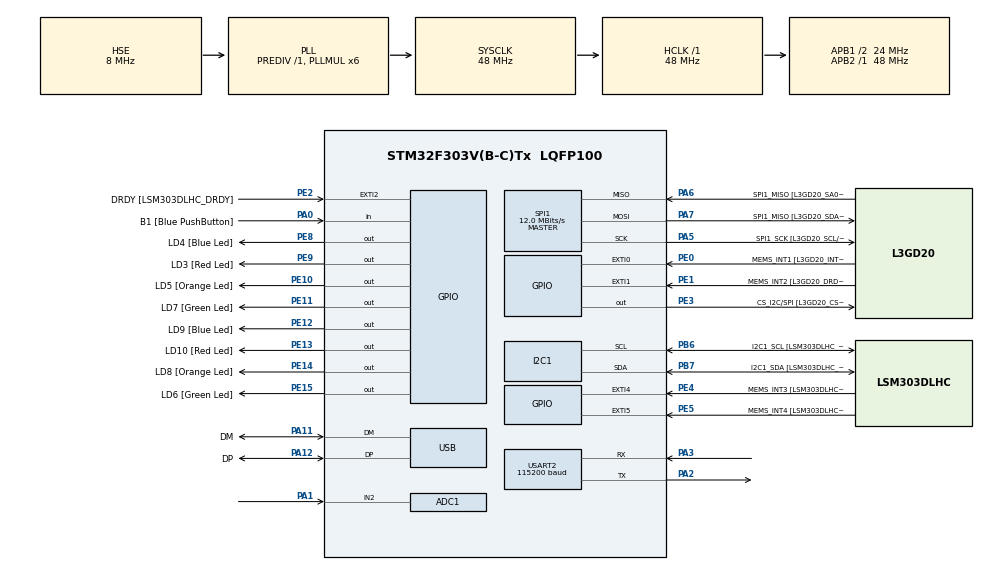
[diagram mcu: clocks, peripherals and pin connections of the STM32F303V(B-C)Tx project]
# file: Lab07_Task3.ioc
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ADC1.Channel-0\#ChannelRegularConversion=ADC_CHANNEL_2
ADC1.NbrOfConversionFlag=1
ADC1.Offset-0\#ChannelRegularConversion=0
ADC1.OffsetNumber-0\#ChannelRegularConversion=ADC_OFFSET_NONE
ADC1.Rank-0\#ChannelRegularConversion=1
ADC1.SamplingTime-0\#ChannelRegularConversion=ADC_SAMPLETIME_61CYCLES_5
ADC1.SamplingTimeOPAMP-0\#ChannelRegularConversion=ADC_SAMPLETIME_19CYCLES_5
ADC1.master=1
I2C1.Timing=0x2000090E
I2C1.Timing-I2C=0x2000090E
Mcu.Family=STM32F3
Mcu.Name=STM32F303V(B-C)Tx
Mcu.Package=LQFP100
NVIC.PriorityGroup=NVIC_PRIORITYGROUP_0
PA0.GPIO_Label=B1 [Blue PushButton]
PA0.Signal=GPIO_Input
PA1.Mode=IN2-Single-Ended
PA1.Signal=ADC1_IN2
PA11.GPIO_Label=DM
PA11.Mode=Device
PA11.Signal=USB_DM
PA12.GPIO_Label=DP
PA12.Mode=Device
PA12.Signal=USB_DP
PA13.GPIO_Label=SWDIO
PA13.Mode=Serial_Wire
PA13.Signal=SYS_JTMS-SWDIO
PA14.GPIO_Label=SWCLK
PA14.Mode=Serial_Wire
PA14.Signal=SYS_JTCK-SWCLK
PA2.Mode=Asynchronous
PA2.Signal=USART2_TX
PA3.Mode=Asynchronous
PA3.Signal=USART2_RX
PA5.GPIO_Label=SPI1_SCK [L3GD20_SCL/SPC]
PA5.Mode=Full_Duplex_Master
PA5.Signal=SPI1_SCK
PA6.GPIO_Label=SPI1_MISO [L3GD20_SA0/SDO]
PA6.Mode=Full_Duplex_Master
PA6.Signal=SPI1_MISO
PA7.GPIO_Label=SPI1_MISO [L3GD20_SDA/SDI/SDO]
PA7.Mode=Full_Duplex_Master
PA7.Signal=SPI1_MOSI
PB3.GPIO_Label=SWO
PB3.Signal=SYS_JTDO-TRACESWO
PB6.GPIO_Label=I2C1_SCL [LSM303DLHC_SCL]
PB6.GPIO_Pu=GPIO_PULLUP
PB6.Mode=I2C
PB6.Signal=I2C1_SCL
PB7.GPIO_Label=I2C1_SDA [LSM303DLHC_SDA]
PB7.GPIO_Pu=GPIO_PULLUP
PB7.Mode=I2C
PB7.Signal=I2C1_SDA
PC14-OSC32_IN.GPIO_Label=OSC32_IN
PC14-OSC32_IN.Signal=RCC_OSC32_IN
PC15-OSC32_OUT.GPIO_Label=OSC32_OUT
PC15-OSC32_OUT.Signal=RCC_OSC32_OUT
PE0.GPIO_Label=MEMS_INT1 [L3GD20_INT1]
PE0.GPIO_ModeDefaultEXTI=GPIO_MODE_EVT_RISING
PE0.Signal=GPXTI0
PE1.GPIO_Label=MEMS_INT2 [L3GD20_DRDY/INT2]
PE1.GPIO_ModeDefaultEXTI=GPIO_MODE_EVT_RISING
PE1.Signal=GPXTI1
PE10.GPIO_Label=LD5 [Orange Led]
PE10.Signal=GPIO_Output
PE11.GPIO_Label=LD7 [Green Led]
PE11.Signal=GPIO_Output
PE12.GPIO_Label=LD9 [Blue Led]
PE12.Signal=GPIO_Output
PE13.GPIO_Label=LD10 [Red Led]
PE13.Signal=GPIO_Output
PE14.GPIO_Label=LD8 [Orange Led]
PE14.Signal=GPIO_Output
PE15.GPIO_Label=LD6 [Green Led]
PE15.Signal=GPIO_Output
PE2.GPIO_Label=DRDY [LSM303DLHC_DRDY]
PE2.GPIO_ModeDefaultEXTI=GPIO_MODE_EVT_RISING
PE2.Signal=GPXTI2
PE3.GPIO_Label=CS_I2C/SPI [L3GD20_CS_I2C/SPI]
PE3.Signal=GPIO_Output
PE4.GPIO_Label=MEMS_INT3 [LSM303DLHC_INT1]
PE4.GPIO_ModeDefaultEXTI=GPIO_MODE_EVT_RISING
PE4.Signal=GPXTI4
PE5.GPIO_Label=MEMS_INT4 [LSM303DLHC_INT2]
PE5.GPIO_ModeDefaultEXTI=GPIO_MODE_EVT_RISING
PE5.Signal=GPXTI5
PE8.GPIO_Label=LD4 [Blue Led]
PE8.Signal=GPIO_Output
PE9.GPIO_Label=LD3 [Red Led]
PE9.Signal=GPIO_Output
PF0-OSC_IN.GPIO_Label=OSC_IN
PF0-OSC_IN.Mode=HSE-External-Clock-Source
PF0-OSC_IN.Signal=RCC_OSC_IN
PF1-OSC_OUT.GPIO_Label=OSC_OUT
PF1-OSC_OUT.Signal=RCC_OSC_OUT
ProjectManager.HeapSize=0x200
ProjectManager.StackSize=0x400
ProjectManager.TargetToolchain=CMake
RCC.AHBFreq_Value=48000000
RCC.APB1CLKDivider=RCC_HCLK_DIV2
RCC.APB1Freq_Value=24000000
RCC.APB1TimFreq_Value=48000000
RCC.APB2Freq_Value=48000000
RCC.APB2TimFreq_Value=48000000
RCC.CortexFreq_Value=48000000
RCC.HCLKFreq_Value=48000000
RCC.HSE_VALUE=8000000
RCC.HSI_VALUE=8000000
RCC.LSE_VALUE=32768
RCC.PLLMUL=RCC_PLL_MUL6
RCC.SYSCLKFreq_VALUE=48000000
RCC.SYSCLKSourceVirtual=RCC_SYSCLKSOURCE_PLLCLK
RCC.USBFreq_Value=48000000
SPI1.BaudRatePrescaler=SPI_BAUDRATEPRESCALER_4
SPI1.BaudRatePrescaler-Full_Duplex_Master=SPI_BAUDRATEPRESCALER_2
SPI1.CalculateBaudRate=12.0 MBits/s
SPI1.CalculateBaudRate-Full_Duplex_Master=24.0 MBits/s
SPI1.Direction=SPI_DIRECTION_2LINES
SPI1.Mode=SPI_MODE_MASTER
SPI1.Mode-Full_Duplex_Master=SPI_MODE_MASTER
SPI1.VirtualType=VM_MASTER
USART2.BaudRate=115200
USART2.VirtualMode-Asynchronous=VM_ASYNC
board=STM32F3DISCOVERY

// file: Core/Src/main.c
/* USER CODE BEGIN Header */
/**
  ******************************************************************************
  * @file           : main.c
  * @brief          : Main program body
  ******************************************************************************
  * @attention
  *
  * Copyright (c) 2026 STMicroelectronics.
  * All rights reserved.
  *
  * This software is licensed under terms that can be found in the LICENSE file
  * in the root directory of this software component.
  * If no LICENSE file comes with this software, it is provided AS-IS.
  *
  ******************************************************************************
  */
/* USER CODE END Header */
#include "main.h"

/* USER CODE BEGIN Includes */

#include <stdio.h>
#include <string.h>
#include "stdarg.h"
#include <math.h>
/* USER CODE END Includes */

ADC_HandleTypeDef hadc1;

I2C_HandleTypeDef hi2c1;

SPI_HandleTypeDef hspi1;

UART_HandleTypeDef huart2;

/* USER CODE BEGIN PV */

uint32_t adc_value;
float voltage;
char msg[100];

/* USER CODE END PV */

void SystemClock_Config(void);
static void MX_GPIO_Init(void);
static void MX_ADC1_Init(void);
static void MX_I2C1_Init(void);
static void MX_SPI1_Init(void);
static void MX_USART2_UART_Init(void);

/* USER CODE BEGIN 0 */
void myPrintf(const char *fmt, ...){
    char buffer[100];
    va_list args;
    va_start(args, fmt);
    vsnprintf(buffer, sizeof(buffer), fmt, args);
    va_end(args);

    uint8_t length = strlen(buffer);
    HAL_UART_Transmit(&huart2, (uint8_t *)buffer, length, HAL_MAX_DELAY);

  }

int _write(int file, char *ptr, int len) {
    HAL_UART_Transmit(&huart2, (uint8_t*)ptr, len, HAL_MAX_DELAY);
  return len;
}

/* One polled ADC reading (raw 0..4095) */
uint32_t ADC_ReadRaw(void)
{
    uint32_t value = 0;

    HAL_ADC_Start(&hadc1);
    if (HAL_ADC_PollForConversion(&hadc1, 100) == HAL_OK)
    {
        value = HAL_ADC_GetValue(&hadc1);
    }
    HAL_ADC_Stop(&hadc1);

    return value;
}

/* Average of 8 readings to reduce sensor noise */
uint32_t ADC_ReadAveraged(void)
{
    uint32_t sum = 0;
    for (int i = 0; i < 8; i++)
    {
        sum += ADC_ReadRaw();
    }
    return sum / 8;
}

/* Raw counts -> millivolts */
uint32_t ADC_ToMilliVolts(uint32_t raw)
{
    return (raw * 3300UL) / 4095UL;
}

/* Sharp GP2Y0A02YK0F: millivolts -> distance in mm.
 * Approximation: D(cm) = 60.374 * V^-1.16, with V in volts.
 * Returns 0 when out of range (no object or beyond ~150 cm). */
uint32_t Sensor_MilliVoltsToMm(uint32_t mv)
{
    if (mv < 400)
    {
        return 0;
    }
    float volts = (float)mv / 1000.0f;
    float cm = 60.374f * powf(volts, -1.16f);
    return (uint32_t)(cm * 10.0f);
}

/* USER CODE END 0 */

int main(void)
{

  /* MCU Configuration--------------------------------------------------------*/

  /* Reset of all peripherals, Initializes the Flash interface and the Systick. */
  HAL_Init();

  /* Configure the system clock */
  SystemClock_Config();

  /* Initialize all configured peripherals */
  MX_GPIO_Init();
  MX_ADC1_Init();
  MX_I2C1_Init();
  MX_SPI1_Init();
  MX_USART2_UART_Init();
  /* USER CODE BEGIN 2 */
  HAL_ADCEx_Calibration_Start(&hadc1, ADC_SINGLE_ENDED);
  /* USER CODE END 2 */

  /* Infinite loop */
  while (1)
  {

    /* USER CODE BEGIN 3 */
    uint32_t raw = ADC_ReadAveraged();
    uint32_t mv  = ADC_ToMilliVolts(raw);
    uint32_t mm  = Sensor_MilliVoltsToMm(mv);

    if (mm == 0)
    {
        myPrintf("ADC: %lu  Voltage: %lu.%03lu V  Out of range\r\n",
                 raw, mv / 1000, mv % 1000);
    }
    else
    {
        myPrintf("ADC: %lu  Voltage: %lu.%03lu V  Distance: %lu mm (%lu.%lu cm)\r\n",
                 raw, mv / 1000, mv % 1000, mm, mm / 10, mm % 10);
    }

    HAL_Delay(100);
  }

  /* USER CODE END 3 */
}

void SystemClock_Config(void)
{
  RCC_OscInitTypeDef RCC_OscInitStruct = {0};
  RCC_ClkInitTypeDef RCC_ClkInitStruct = {0};
  RCC_PeriphCLKInitTypeDef PeriphClkInit = {0};

  /** Initializes the RCC Oscillators according to the specified parameters
  * in the RCC_OscInitTypeDef structure.
  */
  RCC_OscInitStruct.OscillatorType = RCC_OSCILLATORTYPE_HSI|RCC_OSCILLATORTYPE_HSE;
  RCC_OscInitStruct.HSEState = RCC_HSE_BYPASS;
  RCC_OscInitStruct.HSEPredivValue = RCC_HSE_PREDIV_DIV1;
  RCC_OscInitStruct.HSIState = RCC_HSI_ON;
  RCC_OscInitStruct.HSICalibrationValue = RCC_HSICALIBRATION_DEFAULT;
  RCC_OscInitStruct.PLL.PLLState = RCC_PLL_ON;
  RCC_OscInitStruct.PLL.PLLSource = RCC_PLLSOURCE_HSE;
  RCC_OscInitStruct.PLL.PLLMUL = RCC_PLL_MUL6;
  if (HAL_RCC_OscConfig(&RCC_OscInitStruct) != HAL_OK)
  {
    Error_Handler();
  }

  /** Initializes the CPU, AHB and APB buses clocks
  */
  RCC_ClkInitStruct.ClockType = RCC_CLOCKTYPE_HCLK|RCC_CLOCKTYPE_SYSCLK
                              |RCC_CLOCKTYPE_PCLK1|RCC_CLOCKTYPE_PCLK2;
  RCC_ClkInitStruct.SYSCLKSource = RCC_SYSCLKSOURCE_PLLCLK;
  RCC_ClkInitStruct.AHBCLKDivider = RCC_SYSCLK_DIV1;
  RCC_ClkInitStruct.APB1CLKDivider = RCC_HCLK_DIV2;
  RCC_ClkInitStruct.APB2CLKDivider = RCC_HCLK_DIV1;

  if (HAL_RCC_ClockConfig(&RCC_ClkInitStruct, FLASH_LATENCY_1) != HAL_OK)
  {
    Error_Handler();
  }
  PeriphClkInit.PeriphClockSelection = RCC_PERIPHCLK_USB|RCC_PERIPHCLK_USART2
                              |RCC_PERIPHCLK_I2C1|RCC_PERIPHCLK_ADC12;
  PeriphClkInit.Usart2ClockSelection = RCC_USART2CLKSOURCE_PCLK1;
  PeriphClkInit.Adc12ClockSelection = RCC_ADC12PLLCLK_DIV1;
  PeriphClkInit.I2c1ClockSelection = RCC_I2C1CLKSOURCE_HSI;
  PeriphClkInit.USBClockSelection = RCC_USBCLKSOURCE_PLL;
  if (HAL_RCCEx_PeriphCLKConfig(&PeriphClkInit) != HAL_OK)
  {
    Error_Handler();
  }
}

static void MX_ADC1_Init(void)
{

  ADC_MultiModeTypeDef multimode = {0};
  ADC_ChannelConfTypeDef sConfig = {0};

  /** Common config
  */
  hadc1.Instance = ADC1;
  hadc1.Init.ClockPrescaler = ADC_CLOCK_ASYNC_DIV1;
  hadc1.Init.Resolution = ADC_RESOLUTION_12B;
  hadc1.Init.ScanConvMode = ADC_SCAN_DISABLE;
  hadc1.Init.ContinuousConvMode = DISABLE;
  hadc1.Init.DiscontinuousConvMode = DISABLE;
  hadc1.Init.ExternalTrigConvEdge = ADC_EXTERNALTRIGCONVEDGE_NONE;
  hadc1.Init.ExternalTrigConv = ADC_SOFTWARE_START;
  hadc1.Init.DataAlign = ADC_DATAALIGN_RIGHT;
  hadc1.Init.NbrOfConversion = 1;
  hadc1.Init.DMAContinuousRequests = DISABLE;
  hadc1.Init.EOCSelection = ADC_EOC_SINGLE_CONV;
  hadc1.Init.LowPowerAutoWait = DISABLE;
  hadc1.Init.Overrun = ADC_OVR_DATA_OVERWRITTEN;
  if (HAL_ADC_Init(&hadc1) != HAL_OK)
  {
    Error_Handler();
  }

  /** Configure the ADC multi-mode
  */
  multimode.Mode = ADC_MODE_INDEPENDENT;
  if (HAL_ADCEx_MultiModeConfigChannel(&hadc1, &multimode) != HAL_OK)
  {
    Error_Handler();
  }

  /** Configure Regular Channel
  */
  sConfig.Channel = ADC_CHANNEL_2;
  sConfig.Rank = ADC_REGULAR_RANK_1;
  sConfig.SingleDiff = ADC_SINGLE_ENDED;
  sConfig.SamplingTime = ADC_SAMPLETIME_61CYCLES_5;
  sConfig.OffsetNumber = ADC_OFFSET_NONE;
  sConfig.Offset = 0;
  if (HAL_ADC_ConfigChannel(&hadc1, &sConfig) != HAL_OK)
  {
    Error_Handler();
  }

}

static void MX_I2C1_Init(void)
{

  hi2c1.Instance = I2C1;
  hi2c1.Init.Timing = 0x00201D2B;
  hi2c1.Init.OwnAddress1 = 0;
  hi2c1.Init.AddressingMode = I2C_ADDRESSINGMODE_7BIT;
  hi2c1.Init.DualAddressMode = I2C_DUALADDRESS_DISABLE;
  hi2c1.Init.OwnAddress2 = 0;
  hi2c1.Init.OwnAddress2Masks = I2C_OA2_NOMASK;
  hi2c1.Init.GeneralCallMode = I2C_GENERALCALL_DISABLE;
  hi2c1.Init.NoStretchMode = I2C_NOSTRETCH_DISABLE;
  if (HAL_I2C_Init(&hi2c1) != HAL_OK)
  {
    Error_Handler();
  }

  /** Configure Analogue filter
  */
  if (HAL_I2CEx_ConfigAnalogFilter(&hi2c1, I2C_ANALOGFILTER_ENABLE) != HAL_OK)
  {
    Error_Handler();
  }

  /** Configure Digital filter
  */
  if (HAL_I2CEx_ConfigDigitalFilter(&hi2c1, 0) != HAL_OK)
  {
    Error_Handler();
  }

}

static void MX_SPI1_Init(void)
{

  /* SPI1 parameter configuration*/
  hspi1.Instance = SPI1;
  hspi1.Init.Mode = SPI_MODE_MASTER;
  hspi1.Init.Direction = SPI_DIRECTION_2LINES;
  hspi1.Init.DataSize = SPI_DATASIZE_4BIT;
  hspi1.Init.CLKPolarity = SPI_POLARITY_LOW;
  hspi1.Init.CLKPhase = SPI_PHASE_1EDGE;
  hspi1.Init.NSS = SPI_NSS_SOFT;
  hspi1.Init.BaudRatePrescaler = SPI_BAUDRATEPRESCALER_4;
  hspi1.Init.FirstBit = SPI_FIRSTBIT_MSB;
  hspi1.Init.TIMode = SPI_TIMODE_DISABLE;
  hspi1.Init.CRCCalculation = SPI_CRCCALCULATION_DISABLE;
  hspi1.Init.CRCPolynomial = 7;
  hspi1.Init.CRCLength = SPI_CRC_LENGTH_DATASIZE;
  hspi1.Init.NSSPMode = SPI_NSS_PULSE_ENABLE;
  if (HAL_SPI_Init(&hspi1) != HAL_OK)
  {
    Error_Handler();
  }

}

static void MX_USART2_UART_Init(void)
{

  huart2.Instance = USART2;
  huart2.Init.BaudRate = 115200;
  huart2.Init.WordLength = UART_WORDLENGTH_8B;
  huart2.Init.StopBits = UART_STOPBITS_1;
  huart2.Init.Parity = UART_PARITY_NONE;
  huart2.Init.Mode = UART_MODE_TX_RX;
  huart2.Init.HwFlowCtl = UART_HWCONTROL_NONE;
  huart2.Init.OverSampling = UART_OVERSAMPLING_16;
  huart2.Init.OneBitSampling = UART_ONE_BIT_SAMPLE_DISABLE;
  huart2.AdvancedInit.AdvFeatureInit = UART_ADVFEATURE_NO_INIT;
  if (HAL_UART_Init(&huart2) != HAL_OK)
  {
    Error_Handler();
  }

}

static void MX_GPIO_Init(void)
{
  GPIO_InitTypeDef GPIO_InitStruct = {0};

  /* GPIO Ports Clock Enable */
  __HAL_RCC_GPIOE_CLK_ENABLE();
  __HAL_RCC_GPIOC_CLK_ENABLE();
  __HAL_RCC_GPIOF_CLK_ENABLE();
  __HAL_RCC_GPIOA_CLK_ENABLE();
  __HAL_RCC_GPIOB_CLK_ENABLE();

  /*Configure GPIO pin Output Level */
  HAL_GPIO_WritePin(GPIOE, CS_I2C_SPI_Pin|LD4_Pin|LD3_Pin|LD5_Pin
                          |LD7_Pin|LD9_Pin|LD10_Pin|LD8_Pin
                          |LD6_Pin, GPIO_PIN_RESET);

  /*Configure GPIO pins : DRDY_Pin MEMS_INT3_Pin MEMS_INT4_Pin MEMS_INT1_Pin
                           MEMS_INT2_Pin */
  GPIO_InitStruct.Pin = DRDY_Pin|MEMS_INT3_Pin|MEMS_INT4_Pin|MEMS_INT1_Pin
                          |MEMS_INT2_Pin;
  GPIO_InitStruct.Mode = GPIO_MODE_EVT_RISING;
  GPIO_InitStruct.Pull = GPIO_NOPULL;
  HAL_GPIO_Init(GPIOE, &GPIO_InitStruct);

  /*Configure GPIO pins : CS_I2C_SPI_Pin LD4_Pin LD3_Pin LD5_Pin
                           LD7_Pin LD9_Pin LD10_Pin LD8_Pin
                           LD6_Pin */
  GPIO_InitStruct.Pin = CS_I2C_SPI_Pin|LD4_Pin|LD3_Pin|LD5_Pin
                          |LD7_Pin|LD9_Pin|LD10_Pin|LD8_Pin
                          |LD6_Pin;
  GPIO_InitStruct.Mode = GPIO_MODE_OUTPUT_PP;
  GPIO_InitStruct.Pull = GPIO_NOPULL;
  GPIO_InitStruct.Speed = GPIO_SPEED_FREQ_LOW;
  HAL_GPIO_Init(GPIOE, &GPIO_InitStruct);

  /*Configure GPIO pin : B1_Pin */
  GPIO_InitStruct.Pin = B1_Pin;
  GPIO_InitStruct.Mode = GPIO_MODE_INPUT;
  GPIO_InitStruct.Pull = GPIO_NOPULL;
  HAL_GPIO_Init(B1_GPIO_Port, &GPIO_InitStruct);

}

void Error_Handler(void)
{
  __disable_irq();
  while (1)
  {
  }
}
